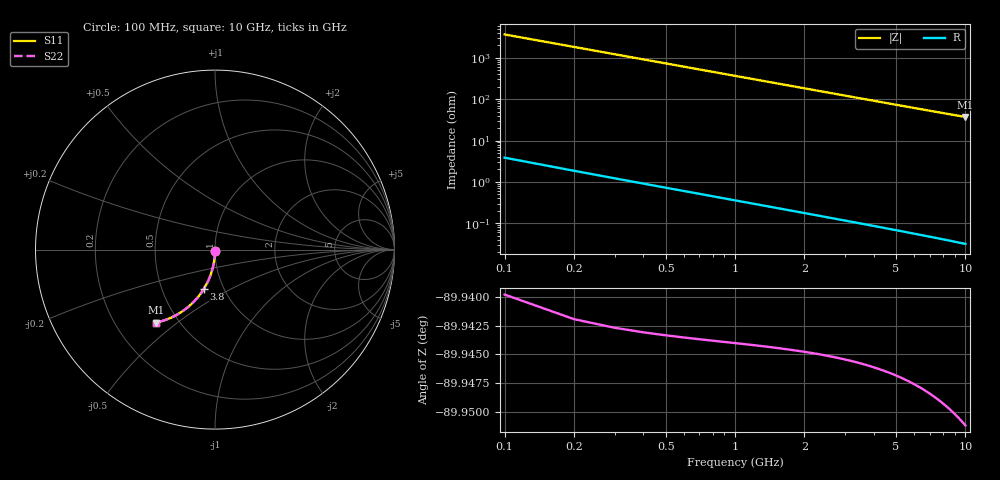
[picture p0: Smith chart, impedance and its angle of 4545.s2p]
# Hz S RI R 50.00
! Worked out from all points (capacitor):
!   100 points, 100 MHz to 10 GHz, reference 50 ohm
!   read as one part in shunt: C = 435 fF near 100 MHz
!   lowest |Z| = 37.1 ohm at 10 GHz (marker M1)
!   S11 on the Smith chart (normalised r, x): 100 MHz: 1.00, -0.01; 3.8 GHz: 0.80, -0.37; 10 GHz: 0.38, -0.42
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1e8  0.000131 -0.0062  0.9998 -0.00745  0.9998 -0.00745  0.000131 -0.0062
2e8  -1.34e-05 -0.0124  0.9996 -0.0149  0.9996 -0.0149  -1.34e-05 -0.0124
3e8  -0.00025 -0.0186  0.9994 -0.0223  0.9994 -0.0223  -0.00025 -0.0186
4e8  -0.000579 -0.0248  0.999 -0.0298  0.999 -0.0298  -0.000579 -0.0248
5e8  -0.001 -0.031  0.9986 -0.0372  0.9986 -0.0372  -0.001 -0.031
6e8  -0.00151 -0.0372  0.9981 -0.0446  0.9981 -0.0446  -0.00151 -0.0372
7e8  -0.00212 -0.0433  0.9975 -0.052  0.9975 -0.052  -0.00212 -0.0433
8e8  -0.00282 -0.0495  0.9968 -0.0594  0.9968 -0.0594  -0.00282 -0.0495
9e8  -0.0036 -0.0556  0.996 -0.0668  0.996 -0.0668  -0.0036 -0.0556
1.1e9  -0.00545 -0.0679  0.9941 -0.0815  0.9941 -0.0815  -0.00545 -0.0679
1.4e9  -0.0089 -0.0861  0.9906 -0.1035  0.9906 -0.1035  -0.0089 -0.0861
1.8e9  -0.0147 -0.1101  0.9846 -0.1324  0.9846 -0.1324  -0.0147 -0.1101
2.1e9  -0.02 -0.1277  0.9793 -0.1538  0.9793 -0.1538  -0.02 -0.1277
2.5e9  -0.0282 -0.1508  0.9709 -0.1819  0.9709 -0.1819  -0.0282 -0.1508
2.9e9  -0.0377 -0.1732  0.9613 -0.2093  0.9613 -0.2093  -0.0377 -0.1732
3.4e9  -0.0512 -0.2001  0.9475 -0.2425  0.9475 -0.2425  -0.0512 -0.2001
3.8e9  -0.0633 -0.2207  0.9352 -0.2681  0.9352 -0.2681  -0.0633 -0.2207
4.4e9  -0.0834 -0.2499  0.9147 -0.3048  0.9147 -0.3048  -0.0834 -0.2499
5.1e9  -0.1093 -0.2811  0.8883 -0.3449  0.8883 -0.3449  -0.1093 -0.2811
6.7e9  -0.1761 -0.3399  0.8199 -0.4242  0.8199 -0.4242  -0.1761 -0.3399
8.4e9  -0.2534 -0.383  0.7405 -0.4894  0.7405 -0.4894  -0.2534 -0.383
1e10  -0.3271 -0.4064  0.6643 -0.534  0.6643 -0.534  -0.3271 -0.4064
